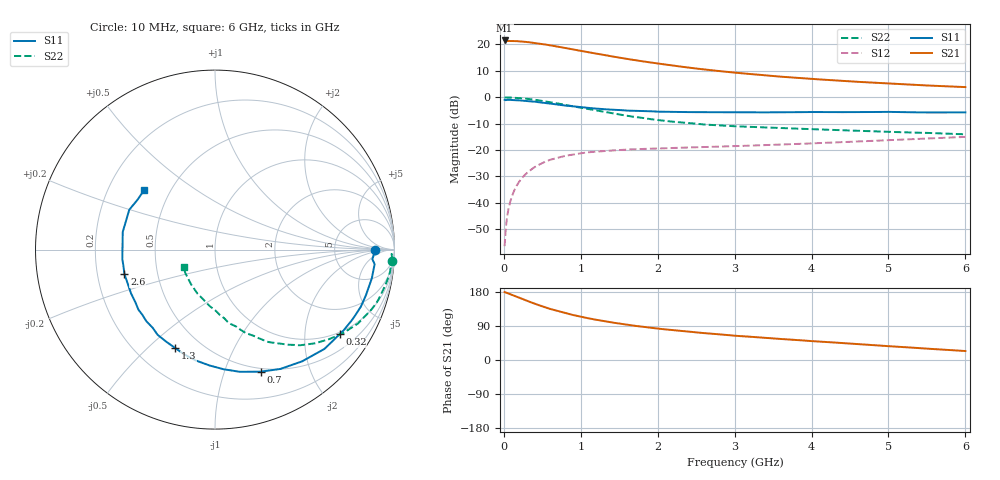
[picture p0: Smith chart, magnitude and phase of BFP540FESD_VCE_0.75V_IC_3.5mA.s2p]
! Infineon Technologies  Discrete & RF Semiconductors
! BFP540FESD
! VCE = 0.75 V,  IC =  3.5 mA
! Common Emitter S-Parameters:  Nov 2015
# GHz  S  MA  R  50
!  f  S11  S21  S12  S22
! GHz  MAG  ANG  MAG  ANG  MAG  ANG  MAG  ANG
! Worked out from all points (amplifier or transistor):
!   210 points, 10 MHz to 6 GHz, reference 50 ohm
!   highest |S21| = 21.5 dB at 10 MHz (marker M1)
!   |S21| within 3 dB of that: start of sweep to 826.7 MHz
!   unconditionally stable (mu >= 1): 2.985 GHz to end of sweep
!   at 185 MHz: K = 0.06, MSG = 26.9 dB, |S12| = -32.7 dB
!   at 1.52 GHz: K = 0.53, MSG = 17.4 dB, |S12| = -20.0 dB
!   at 6 GHz: K = 1.37, MAG = 5.8 dB, |S12| = -15.1 dB
!   S11 on the Smith chart (normalised r, x): 10 MHz: 17, -1; 320 MHz: 0.93, -2.99; 700 MHz: 0.46, -1.34; 1.3 GHz: 0.36, -0.61; 2.6 GHz: 0.32, -0.12; 6 GHz: 0.36, +0.33
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0.01  0.8917 -0.3  11.89 179.1  0.0015 91.0  0.9895 -3.6
0.02  0.8785 -3.5  11.54 178.6  0.0025 85.5  0.9844 -1.4
0.045  0.8905 -4.9  11.62 176.7  0.0057 89.0  0.9852 -3.2
0.095  0.8884 -9.9  11.63 172.6  0.012 86.6  0.9833 -6.8
0.15  0.8785 -16.8  11.61 168.3  0.0189 81.3  0.9738 -10.6
0.2  0.8725 -21.4  11.43 163.9  0.0251 78.1  0.9613 -14.1
0.32  0.8394 -34.2  11.02 154.7  0.0387 71.8  0.9255 -22.1
0.4  0.8235 -42.2  10.68 148.6  0.0473 67.8  0.897 -27.3
0.5  0.7892 -52.1  10.21 141.5  0.0565 62.2  0.8515 -33.2
0.6  0.7581 -61.3  9.613 134.9  0.0649 58.3  0.8052 -38.5
0.7  0.7264 -69.4  9.095 129.4  0.0712 54.0  0.7611 -43.4
0.9  0.6683 -85.9  8.034 118.7  0.0817 47.1  0.6699 -52.3
1.02  0.6414 -94.1  7.463 113.5  0.0872 43.9  0.6236 -56.8
1.2  0.6074 -106.7  6.672 106.1  0.0925 39.9  0.5585 -63.1
1.3  0.5915 -112.0  6.296 102.8  0.0954 38.3  0.5259 -65.9
1.62  0.5557 -129.6  5.262 92.6  0.1021 33.7  0.4402 -75.3
2.02  0.5312 -147.1  4.319 82.3  0.1068 30.2  0.3665 -85.6
2.6  0.523 -164.7  3.359 71.0  0.1129 28.0  0.3035 -98.6
3.1  0.5174 -176.0  2.835 62.8  0.1194 27.3  0.2775 -105.8
4.1  0.5222 167.7  2.174 48.7  0.135 27.0  0.2446 -119.6
5.1  0.5232 153.5  1.79 35.3  0.1551 24.6  0.2183 -134.0
6  0.5159 139.6  1.553 23.7  0.1767 21.7  0.1982 -150.7
